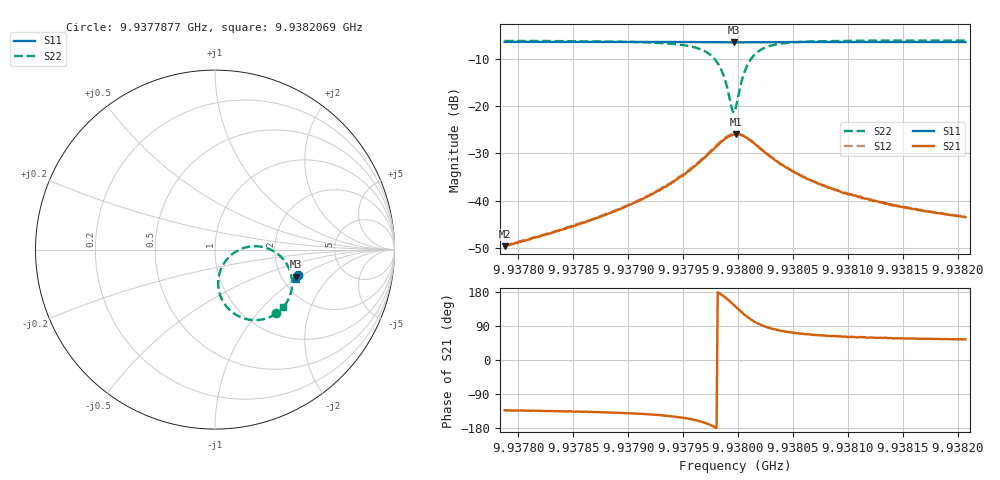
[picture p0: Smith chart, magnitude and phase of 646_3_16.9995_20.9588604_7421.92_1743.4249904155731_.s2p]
#  HZ  S  RI  R  50.00
! Rohde & Schwarz Vector Network Analyzer
! Rohde-Schwarz,ZNB20-2Port,1311601062101988,3.16
! Created: UTC 3/20/2024, 11:21:03 PM
! freq[Hz]  re:S11  im:S11  re:S21  im:S21  re:S12  im:S12  re:S22  im:S22
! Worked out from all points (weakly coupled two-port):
!   401 points, 9.9377877 GHz to 9.9382069 GHz, reference 50 ohm
!   highest |S21| = -25.94 dB at 9.9379984 GHz (marker M1); lowest = -49.6 dB at 9.9377877 GHz (marker M2)
!   lowest |S11| = -6.5 dB at 9.9379963 GHz (marker M3), VSWR 2.81, Z = 119 - j46.5 ohm
!   |S11| at or under -10 dB: nowhere
!   |S22| runs from -21.4 to -6.0 dB; largest |S21 - S12| = 0.0025
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9.93778767e9  0.4606 -0.1403  -0.00224 -0.00241  -0.00234 -0.00241  0.342 -0.3553
9.9378579e9  0.4586 -0.1451  -0.00418 -0.00398  -0.00431 -0.00398  0.3209 -0.3685
9.93789563e9  0.4575 -0.1479  -0.00644 -0.0054  -0.00665 -0.00543  0.2988 -0.3788
9.93792813e9  0.4561 -0.1503  -0.0105 -0.00728  -0.0108 -0.00724  0.2613 -0.3893
9.93795957e9  0.4542 -0.1527  -0.021 -0.00856  -0.0216 -0.00841  0.1735 -0.3868
9.93797634e9  0.4521 -0.1536  -0.0337 -0.00385  -0.0346 -0.00346  0.0759 -0.3305
9.93798158e9  0.4515 -0.1535  -0.0387 0.000788  -0.0398 0.00178  0.0416 -0.2831
9.93798577e9  0.4506 -0.1532  -0.0423 0.00675  -0.0432 0.00815  0.0219 -0.229
9.93798892e9  0.4503 -0.1527  -0.0439 0.0127  -0.0447 0.0142  0.0179 -0.179
9.93799416e9  0.45 -0.1518  -0.0431 0.0238  -0.0434 0.0261  0.0436 -0.0873
9.93799625e9  0.4498 -0.1512  -0.0411 0.0286  -0.0412 0.0308  0.0669 -0.0533
9.9379973e9  0.45 -0.151  -0.0398 0.0308  -0.0396 0.0329  0.081 -0.0382
9.93799835e9  0.4501 -0.1508  -0.0385 0.0327  -0.0381 0.0351  0.0974 -0.0243
9.93800359e9  0.4511 -0.15  -0.0284 0.0401  -0.0275 0.0418  0.1889 0.016
9.93800674e9  0.4516 -0.1498  -0.0219 0.0417  -0.0207 0.0433  0.2437 0.0179
9.93801198e9  0.4527 -0.15  -0.0122 0.041  -0.0109 0.0419  0.3192 -0.00465
9.93801722e9  0.4535 -0.1506  -0.00502 0.038  -0.00397 0.0385  0.3694 -0.0416
9.93803399e9  0.4544 -0.1529  0.00452 0.0264  0.00518 0.0265  0.4257 -0.1481
9.93806753e9  0.4541 -0.1561  0.00645 0.0148  0.00678 0.0149  0.4217 -0.2438
9.93809793e9  0.4532 -0.1588  0.00575 0.0105  0.00611 0.0105  0.4085 -0.2781
9.93813776e9  0.452 -0.1616  0.00478 0.00764  0.00506 0.00773  0.3956 -0.3009
9.93820693e9  0.4502 -0.1663  0.00388 0.00542  0.00406 0.00543  0.3814 -0.3207
